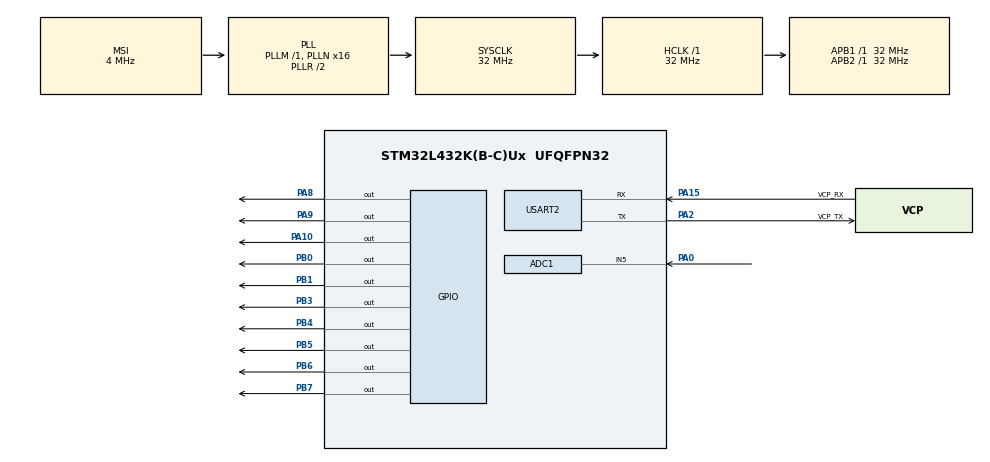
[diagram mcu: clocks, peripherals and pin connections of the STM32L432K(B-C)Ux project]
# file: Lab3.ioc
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ADC1.Channel-4\#ChannelRegularConversion=ADC_CHANNEL_5
ADC1.NbrOfConversionFlag=1
ADC1.OffsetNumber-4\#ChannelRegularConversion=ADC_OFFSET_NONE
ADC1.Rank-4\#ChannelRegularConversion=1
ADC1.SamplingTime-4\#ChannelRegularConversion=ADC_SAMPLETIME_2CYCLES_5
ADC1.master=1
Mcu.Family=STM32L4
Mcu.Name=STM32L432K(B-C)Ux
Mcu.Package=UFQFPN32
NVIC.PriorityGroup=NVIC_PRIORITYGROUP_4
PA0.Signal=ADCx_IN5
PA10.GPIO_PuPd=GPIO_PULLDOWN
PA10.Signal=GPIO_Output
PA13\ (JTMS-SWDIO).GPIO_Label=SWDIO
PA13\ (JTMS-SWDIO).Mode=Serial_Wire
PA13\ (JTMS-SWDIO).Signal=SYS_JTMS-SWDIO
PA14\ (JTCK-SWCLK).GPIO_Label=SWCLK
PA14\ (JTCK-SWCLK).Mode=Serial_Wire
PA14\ (JTCK-SWCLK).Signal=SYS_JTCK-SWCLK
PA15\ (JTDI).GPIO_Label=VCP_RX
PA15\ (JTDI).Mode=Asynchronous
PA15\ (JTDI).Signal=USART2_RX
PA2.GPIO_Label=VCP_TX
PA2.Mode=Asynchronous
PA2.Signal=USART2_TX
PA8.GPIO_PuPd=GPIO_PULLDOWN
PA8.Signal=GPIO_Output
PA9.GPIO_PuPd=GPIO_PULLDOWN
PA9.Signal=GPIO_Output
PB0.PinState=GPIO_PIN_SET
PB0.Signal=GPIO_Output
PB1.PinState=GPIO_PIN_SET
PB1.Signal=GPIO_Output
PB3\ (JTDO-TRACESWO).PinState=GPIO_PIN_SET
PB3\ (JTDO-TRACESWO).Signal=GPIO_Output
PB4\ (NJTRST).PinState=GPIO_PIN_SET
PB4\ (NJTRST).Signal=GPIO_Output
PB5.PinState=GPIO_PIN_SET
PB5.Signal=GPIO_Output
PB6.PinState=GPIO_PIN_SET
PB6.Signal=GPIO_Output
PB7.PinState=GPIO_PIN_SET
PB7.Signal=GPIO_Output
PC14-OSC32_IN\ (PC14).Mode=LSE-External-Oscillator
PC14-OSC32_IN\ (PC14).Signal=RCC_OSC32_IN
PC15-OSC32_OUT\ (PC15).Mode=LSE-External-Oscillator
PC15-OSC32_OUT\ (PC15).Signal=RCC_OSC32_OUT
ProjectManager.HeapSize=0x200
ProjectManager.StackSize=0x400
ProjectManager.TargetToolchain=STM32CubeIDE
RCC.ADCFreq_Value=32000000
RCC.AHBFreq_Value=32000000
RCC.APB1Freq_Value=32000000
RCC.APB1TimFreq_Value=32000000
RCC.APB2Freq_Value=32000000
RCC.APB2TimFreq_Value=32000000
RCC.CortexFreq_Value=32000000
RCC.HCLKFreq_Value=32000000
RCC.HSE_VALUE=8000000
RCC.HSI16_VALUE=16000000
RCC.HSI48_VALUE=48000000
RCC.HSI_VALUE=16000000
RCC.MSI_VALUE=4000000
RCC.PLLMUL=RCC_PLLMUL_4
RCC.PLLN=16
RCC.PLLSAI1N=16
RCC.SYSCLKFreq_VALUE=32000000
RCC.SYSCLKSource=RCC_SYSCLKSOURCE_PLLCLK
RCC.USBFreq_Value=32000000
RCC.VCOOutputFreq_Value=64000000
SH.ADCx_IN5.0=ADC1_IN5,IN5-Single-Ended
USART2.VirtualMode-Asynchronous=VM_ASYNC
board=NUCLEO-L432KC

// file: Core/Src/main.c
/* USER CODE BEGIN Header */
/**
  ******************************************************************************
  * @file           : main.c
  * @brief          : Main program body
  ******************************************************************************
  * @attention
  *
  * <h2><center>&copy; Copyright (c) 2021 STMicroelectronics.
  * All rights reserved.</center></h2>
  *
  * This software component is licensed by ST under BSD 3-Clause license,
  * the "License"; You may not use this file except in compliance with the
  * License. You may obtain a copy of the License at:
  *                        opensource.org/licenses/BSD-3-Clause
  *
  ******************************************************************************
  */
/* USER CODE END Header */
/*
 * FILE          : main.c
 * PROJECT       : 4DS4 - Lab Assignment #2
 * PROGRAMMER    : Uday Sharma, Vivek Patel
 * FIRST VERSION : 2021-03-16
 * DESCRIPTION   :
 *   The functions in this file are used to read the values of a thermistor and display the temperature on an LCD and an RGB LED */
/*
#include "main.h"
#include "stdio.h"
#include "stdlib.h"

ADC_HandleTypeDef hadc1;

UART_HandleTypeDef huart2;

void SystemClock_Config(void);
static void MX_GPIO_Init(void);
static void MX_USART2_UART_Init(void);
static void MX_ADC1_Init(void);

/* USER CODE BEGIN PFP */
volatile measureVoltage(ADC_HandleTypeDef *hadc1, volatile uhADCxConvertedValue);
void setLed(int temp);
/* USER CODE END PFP */

int main(void)
{

  /* MCU Configuration--------------------------------------------------------*/

  /* Reset of all peripherals, Initializes the Flash interface and the Systick. */
  HAL_Init();

  /* Configure the system clock */
  SystemClock_Config();

  /* Initialize all configured peripherals */
  MX_GPIO_Init();
  MX_USART2_UART_Init();
  MX_ADC1_Init();
  /* USER CODE BEGIN 2 */
  HD44780_Init();
  /* USER CODE END 2 */

  /* Infinite loop */
  while (1)
  {
	volatile uhADCxConvertedValue = 0;
    /* USER CODE BEGIN 3 */
	int32_t sum = 0;
	int16_t avgMeasuredVoltagePA0 = 0;
	int16_t sampleMeasured[40] = {0};

	for(int16_t x = 0; x < 40; x++) {
		uhADCxConvertedValue = measureVoltagePA0(&hadc1, uhADCxConvertedValue);
		sampleMeasured[x] = uhADCxConvertedValue;
	}

	for(int16_t x = 0; x < 40; x++) {
		sum += sampleMeasured[x];
	}

	avgMeasuredVoltagePA0 = sum/40;
	int temp = (avgMeasuredVoltagePA0 - 580)/10;
	printf("Measured Temperature = %d\r\n", temp);

	setLed(temp);

	char str[20];
	sprintf(str, "%d", temp);
	HD44780_PutStr(str);
	HAL_Delay(1000);
	HD44780_ClrScr();
   }
 }
  /* USER CODE END 3 */

void SystemClock_Config(void)
{
  RCC_OscInitTypeDef RCC_OscInitStruct = {0};
  RCC_ClkInitTypeDef RCC_ClkInitStruct = {0};
  RCC_PeriphCLKInitTypeDef PeriphClkInit = {0};

  /** Configure LSE Drive Capability
  */
  HAL_PWR_EnableBkUpAccess();
  __HAL_RCC_LSEDRIVE_CONFIG(RCC_LSEDRIVE_LOW);
  /** Initializes the RCC Oscillators according to the specified parameters
  * in the RCC_OscInitTypeDef structure.
  */
  RCC_OscInitStruct.OscillatorType = RCC_OSCILLATORTYPE_LSE|RCC_OSCILLATORTYPE_MSI;
  RCC_OscInitStruct.LSEState = RCC_LSE_ON;
  RCC_OscInitStruct.MSIState = RCC_MSI_ON;
  RCC_OscInitStruct.MSICalibrationValue = 0;
  RCC_OscInitStruct.MSIClockRange = RCC_MSIRANGE_6;
  RCC_OscInitStruct.PLL.PLLState = RCC_PLL_ON;
  RCC_OscInitStruct.PLL.PLLSource = RCC_PLLSOURCE_MSI;
  RCC_OscInitStruct.PLL.PLLM = 1;
  RCC_OscInitStruct.PLL.PLLN = 16;
  RCC_OscInitStruct.PLL.PLLP = RCC_PLLP_DIV7;
  RCC_OscInitStruct.PLL.PLLQ = RCC_PLLQ_DIV2;
  RCC_OscInitStruct.PLL.PLLR = RCC_PLLR_DIV2;
  if (HAL_RCC_OscConfig(&RCC_OscInitStruct) != HAL_OK)
  {
    Error_Handler();
  }
  /** Initializes the CPU, AHB and APB buses clocks
  */
  RCC_ClkInitStruct.ClockType = RCC_CLOCKTYPE_HCLK|RCC_CLOCKTYPE_SYSCLK
                              |RCC_CLOCKTYPE_PCLK1|RCC_CLOCKTYPE_PCLK2;
  RCC_ClkInitStruct.SYSCLKSource = RCC_SYSCLKSOURCE_PLLCLK;
  RCC_ClkInitStruct.AHBCLKDivider = RCC_SYSCLK_DIV1;
  RCC_ClkInitStruct.APB1CLKDivider = RCC_HCLK_DIV1;
  RCC_ClkInitStruct.APB2CLKDivider = RCC_HCLK_DIV1;

  if (HAL_RCC_ClockConfig(&RCC_ClkInitStruct, FLASH_LATENCY_1) != HAL_OK)
  {
    Error_Handler();
  }
  PeriphClkInit.PeriphClockSelection = RCC_PERIPHCLK_USART2|RCC_PERIPHCLK_ADC;
  PeriphClkInit.Usart2ClockSelection = RCC_USART2CLKSOURCE_PCLK1;
  PeriphClkInit.AdcClockSelection = RCC_ADCCLKSOURCE_PLLSAI1;
  PeriphClkInit.PLLSAI1.PLLSAI1Source = RCC_PLLSOURCE_MSI;
  PeriphClkInit.PLLSAI1.PLLSAI1M = 1;
  PeriphClkInit.PLLSAI1.PLLSAI1N = 16;
  PeriphClkInit.PLLSAI1.PLLSAI1P = RCC_PLLP_DIV7;
  PeriphClkInit.PLLSAI1.PLLSAI1Q = RCC_PLLQ_DIV2;
  PeriphClkInit.PLLSAI1.PLLSAI1R = RCC_PLLR_DIV2;
  PeriphClkInit.PLLSAI1.PLLSAI1ClockOut = RCC_PLLSAI1_ADC1CLK;
  if (HAL_RCCEx_PeriphCLKConfig(&PeriphClkInit) != HAL_OK)
  {
    Error_Handler();
  }
  /** Configure the main internal regulator output voltage
  */
  if (HAL_PWREx_ControlVoltageScaling(PWR_REGULATOR_VOLTAGE_SCALE1) != HAL_OK)
  {
    Error_Handler();
  }
  /** Enable MSI Auto calibration
  */
  HAL_RCCEx_EnableMSIPLLMode();
}

static void MX_ADC1_Init(void)
{

  ADC_ChannelConfTypeDef sConfig = {0};

  /** Common config
  */
  hadc1.Instance = ADC1;
  hadc1.Init.ClockPrescaler = ADC_CLOCK_ASYNC_DIV1;
  hadc1.Init.Resolution = ADC_RESOLUTION_12B;
  hadc1.Init.DataAlign = ADC_DATAALIGN_RIGHT;
  hadc1.Init.ScanConvMode = ADC_SCAN_DISABLE;
  hadc1.Init.EOCSelection = ADC_EOC_SINGLE_CONV;
  hadc1.Init.LowPowerAutoWait = DISABLE;
  hadc1.Init.ContinuousConvMode = DISABLE;
  hadc1.Init.NbrOfConversion = 1;
  hadc1.Init.DiscontinuousConvMode = DISABLE;
  hadc1.Init.ExternalTrigConv = ADC_SOFTWARE_START;
  hadc1.Init.ExternalTrigConvEdge = ADC_EXTERNALTRIGCONVEDGE_NONE;
  hadc1.Init.DMAContinuousRequests = DISABLE;
  hadc1.Init.Overrun = ADC_OVR_DATA_PRESERVED;
  hadc1.Init.OversamplingMode = DISABLE;
  if (HAL_ADC_Init(&hadc1) != HAL_OK)
  {
    Error_Handler();
  }
  /** Configure Regular Channel
  */
  sConfig.Channel = ADC_CHANNEL_5;
  sConfig.Rank = ADC_REGULAR_RANK_1;
  sConfig.SamplingTime = ADC_SAMPLETIME_2CYCLES_5;
  sConfig.SingleDiff = ADC_SINGLE_ENDED;
  sConfig.OffsetNumber = ADC_OFFSET_NONE;
  sConfig.Offset = 0;
  if (HAL_ADC_ConfigChannel(&hadc1, &sConfig) != HAL_OK)
  {
    Error_Handler();
  }

}

static void MX_USART2_UART_Init(void)
{

  huart2.Instance = USART2;
  huart2.Init.BaudRate = 115200;
  huart2.Init.WordLength = UART_WORDLENGTH_8B;
  huart2.Init.StopBits = UART_STOPBITS_1;
  huart2.Init.Parity = UART_PARITY_NONE;
  huart2.Init.Mode = UART_MODE_TX_RX;
  huart2.Init.HwFlowCtl = UART_HWCONTROL_NONE;
  huart2.Init.OverSampling = UART_OVERSAMPLING_16;
  huart2.Init.OneBitSampling = UART_ONE_BIT_SAMPLE_DISABLE;
  huart2.AdvancedInit.AdvFeatureInit = UART_ADVFEATURE_NO_INIT;
  if (HAL_UART_Init(&huart2) != HAL_OK)
  {
    Error_Handler();
  }

}

static void MX_GPIO_Init(void)
{
  GPIO_InitTypeDef GPIO_InitStruct = {0};

  /* GPIO Ports Clock Enable */
  __HAL_RCC_GPIOC_CLK_ENABLE();
  __HAL_RCC_GPIOA_CLK_ENABLE();

  /*Configure GPIO pin Output Level */
  HAL_GPIO_WritePin(GPIOA, GPIO_PIN_8|GPIO_PIN_9|GPIO_PIN_10, GPIO_PIN_RESET);

  /*Configure GPIO pins : PA8 PA9 PA10 */
  GPIO_InitStruct.Pin = GPIO_PIN_8|GPIO_PIN_9|GPIO_PIN_10;
  GPIO_InitStruct.Mode = GPIO_MODE_OUTPUT_PP;
  GPIO_InitStruct.Pull = GPIO_NOPULL;
  GPIO_InitStruct.Speed = GPIO_SPEED_FREQ_HIGH;
  HAL_GPIO_Init(GPIOA, &GPIO_InitStruct);

}

/* USER CODE BEGIN 4 */
//
// FUNCTION      : measureVoltagePA0(ADC_HandleTypeDef *hadc1, volatile uhADCxConvertedValue)
// DESCRIPTION  :
//  this function measures the voltage from the thermistor and uses HAL_ADC to convert it to a temperature
// PARAMETERS    :
//  ADC_HandleTypeDef *hadc1, volatile uhADCxConvertedValue
// RETURNS       :
//   volatile
//
volatile measureVoltage(ADC_HandleTypeDef *hadc1, volatile uhADCxConvertedValue) {
	/* USER CODE BEGIN 3 */
	if (HAL_ADC_Start(&*hadc1) != HAL_OK) {
		printf("HAL_ADC_START ERROR\r\n");
	}
	if (HAL_ADC_PollForConversion(&*hadc1, 10) != HAL_OK) {
		printf("HAL_ADC_PollForConversion ERROR\r\n");
	} else {
		uhADCxConvertedValue = HAL_ADC_GetValue(&*hadc1);
	}
	return uhADCxConvertedValue;
}

//
// FUNCTION      : setLed(int temp)
// DESCRIPTION  :
//  this function sets GPIO pin outs for specific colors on the RGB LED depending on the temperature detected by the thermistor
// PARAMETERS    :
//  int temp
// RETURNS       :
//   void
//
void setLed(int temp){
	if(temp >= -40 && temp < 20) {
		HAL_GPIO_WritePin(GPIOA, GPIO_PIN_10, GPIO_PIN_SET);
		HAL_Delay(100);
		HAL_GPIO_WritePin(GPIOA, GPIO_PIN_10, GPIO_PIN_RESET);
	} else if (temp >= 20 && temp < 37) {
		HAL_GPIO_WritePin(GPIOA, GPIO_PIN_9, GPIO_PIN_SET);
		HAL_Delay(100);
		HAL_GPIO_WritePin(GPIOA, GPIO_PIN_9, GPIO_PIN_RESET);
	} else if (temp >= 38 && temp < 40) {
		HAL_GPIO_WritePin(GPIOA, GPIO_PIN_9, GPIO_PIN_SET);
		HAL_GPIO_WritePin(GPIOA, GPIO_PIN_8, GPIO_PIN_SET);
		HAL_Delay(100);
		HAL_GPIO_WritePin(GPIOA, GPIO_PIN_9, GPIO_PIN_RESET);
		HAL_GPIO_WritePin(GPIOA, GPIO_PIN_8, GPIO_PIN_RESET);
	} else {
		HAL_GPIO_WritePin(GPIOA, GPIO_PIN_8, GPIO_PIN_SET);
		HAL_Delay(100);
		HAL_GPIO_WritePin(GPIOA, GPIO_PIN_8, GPIO_PIN_RESET);
	}
}

/* USER CODE END 4 */

void Error_Handler(void)
{
  __disable_irq();
  while (1)
  {
  }
}

/************************ (C) COPYRIGHT STMicroelectronics *****END OF FILE****/
